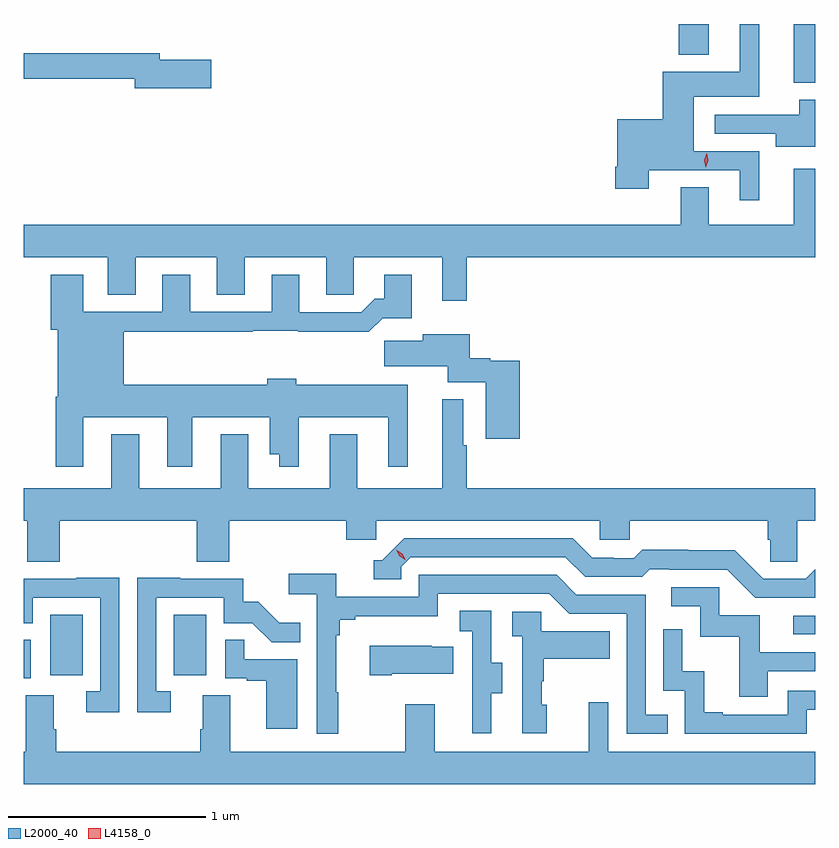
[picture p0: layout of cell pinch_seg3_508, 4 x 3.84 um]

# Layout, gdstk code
import gdstk
lib = gdstk.Library(unit=1e-6, precision=1e-09)
def R(c, l, rs):  # rectangles x0, y0, x1, y1
    for r in rs: c.add(gdstk.rectangle(r[:2], r[2:], *l))
def P(c, l, *ps):  # polygons
    for p in ps: c.add(gdstk.Polygon(p, *l))
L2000_40 = (2000, 40)
L4158_0 = (4158, 0)

pinch_seg3_508 = lib.new_cell('pinch_seg3_508')
R(pinch_seg3_508, L2000_40, [(975.751,676.143,975.786,676.337), (975.884,676.158,976.048,676.465), (976.508,676.158,976.672,676.465), (979.641,676.365,979.751,676.458), (979.643,679.155,979.751,679.451), (979.061,679.295,979.213,679.451)])
P(pinch_seg3_508, L2000_40, [(979.468,678.807),(979.138,678.807),(979.138,679.082),(979.468,679.082),(979.468,679.451),(979.37,679.451),(979.37,679.21),(978.98,679.21),(978.98,678.97),(978.752,678.97),(978.752,678.73),(978.74,678.73),(978.74,678.618),(978.91,678.618),(978.91,678.711),(979.37,678.711),(979.37,678.561),(979.468,678.561)],
  [(976.699,679.269),(976.438,679.269),(976.438,679.303),(975.751,679.303),(975.751,679.174),(976.31,679.174),(976.31,679.127),(976.699,679.127)],
  [(979.751,679.068),(979.67,679.068),(979.67,678.993),(979.245,678.993),(979.245,678.897),(979.553,678.897),(979.553,678.83),(979.751,678.83)],
  [(977.989,678.272),(979.751,678.272),(979.751,678.718),(979.643,678.718),(979.643,678.436),(979.213,678.436),(979.213,678.626),(979.073,678.626),(979.073,678.436),(975.751,678.436),(975.751,678.272),(976.175,678.272),(976.175,678.082),(976.315,678.082),(976.315,678.272),(976.727,678.272),(976.727,678.082),(976.867,678.082),(976.867,678.272),(977.279,678.272),(977.279,678.082),(977.418,678.082),(977.418,678.272),(977.867,678.272),(977.867,678.051),(977.989,678.051)],
  [(976.051,677.462),(976.475,677.462),(976.475,677.211),(976.603,677.211),(976.603,677.462),(976.994,677.462),(976.994,677.276),(977.042,677.276),(977.042,677.211),(977.14,677.211),(977.14,677.462),(977.594,677.462),(977.594,677.211),(977.692,677.211),(977.692,677.626),(977.129,677.626),(977.129,677.656),(976.982,677.656),(976.982,677.626),(976.255,677.626),(976.255,677.896),(976.907,677.896),(976.907,677.899),(977.139,677.899),(977.139,677.894),(977.495,677.894),(977.564,677.963),(977.713,677.963),(977.713,678.184),(977.573,678.184),(977.573,678.061),(977.524,678.061),(977.457,677.994),(977.143,677.994),(977.143,678.184),(977.003,678.184),(977.003,677.997),(976.591,677.997),(976.591,678.184),(976.451,678.184),(976.451,677.997),(976.051,677.997),(976.051,678.184),(975.887,678.184),(975.887,677.904),(975.923,677.904),(975.923,677.566),(975.911,677.566),(975.911,677.211),(976.051,677.211)],
  [(978.257,677.749),(978.108,677.749),(978.108,677.762),(978.004,677.762),(978.004,677.881),(977.768,677.881),(977.768,677.849),(977.574,677.849),(977.574,677.72),(977.894,677.72),(977.894,677.639),(978.086,677.639),(978.086,677.355),(978.257,677.355)],
  [(976.625,676.732),(976.79,676.732),(976.79,676.94),(977.381,676.94),(977.381,676.842),(977.532,676.842),(977.532,676.94),(978.663,676.94),(978.663,676.842),(978.813,676.842),(978.813,676.94),(979.511,676.94),(979.511,676.842),(979.525,676.842),(979.525,676.732),(979.662,676.732),(979.662,676.94),(979.751,676.94),(979.751,677.104),(977.989,677.104),(977.989,677.321),(977.971,677.321),(977.971,677.554),(977.867,677.554),(977.867,677.104),(977.437,677.104),(977.437,677.377),(977.297,677.377),(977.297,677.104),(976.885,677.104),(976.885,677.377),(976.745,677.377),(976.745,677.104),(976.333,677.104),(976.333,677.377),(976.193,677.377),(976.193,677.104),(975.751,677.104),(975.751,676.94),(975.767,676.94),(975.767,676.732),(975.932,676.732),(975.932,676.94),(976.625,676.94)],
  [(979.751,676.694),(979.704,676.647),(979.488,676.647),(979.346,676.789),(979.11,676.789),(979.11,676.792),(978.877,676.792),(978.835,676.749),(978.732,676.749),(978.732,676.752),(978.625,676.752),(978.526,676.851),(977.673,676.851),(977.562,676.74),(977.519,676.74),(977.519,676.644),(977.658,676.644),(977.658,676.707),(977.706,676.755),(978.489,676.755),(978.588,676.656),(978.877,676.656),(978.916,676.695),(979.015,676.695),(979.015,676.692),(979.308,676.692),(979.449,676.551),(979.751,676.551)],
  [(977.341,676.073),(977.329,676.073),(977.329,676.361),(977.348,676.361),(977.348,676.438),(977.425,676.438),(977.425,676.457),(977.844,676.457),(977.844,676.569),(978.408,676.569),(978.507,676.47),(978.798,676.47),(978.798,675.861),(979.007,675.861),(979.007,675.957),(978.894,675.957),(978.894,676.566),(978.544,676.566),(978.445,676.665),(977.748,676.665),(977.748,676.554),(977.33,676.554),(977.33,676.67),(977.091,676.67),(977.091,676.568),(977.232,676.568),(977.232,675.861),(977.341,675.861)],
  [(976.233,676.652),(976.015,676.652),(976.015,676.647),(975.751,676.647),(975.751,676.422),(975.795,676.422),(975.795,676.551),(976.137,676.551),(976.137,676.077),(976.065,676.077),(976.065,675.972),(976.233,675.972)],
  [(976.492,676.077),(976.419,676.077),(976.419,676.551),(976.761,676.551),(976.761,676.422),(976.905,676.422),(977.003,676.324),(977.147,676.324),(977.147,676.423),(977.043,676.423),(976.936,676.53),(976.86,676.53),(976.86,676.647),(976.541,676.647),(976.541,676.652),(976.323,676.652),(976.323,675.972),(976.492,675.972)],
  [(979.513,676.179),(979.751,676.179),(979.751,676.275),(979.471,676.275),(979.471,676.461),(979.266,676.461),(979.266,676.602),(979.023,676.602),(979.023,676.506),(979.17,676.506),(979.17,676.353),(979.369,676.353),(979.369,676.05),(979.513,676.05)],
  [(978.115,676.066),(978.169,676.066),(978.169,676.221),(978.114,676.221),(978.114,676.484),(977.955,676.484),(977.955,676.381),(978.018,676.381),(978.018,676.077),(978.017,676.077),(978.017,675.864),(978.115,675.864)],
  [(978.394,676.008),(978.369,676.008),(978.369,676.127),(978.379,676.127),(978.379,676.241),(978.713,676.241),(978.713,676.381),(978.366,676.381),(978.366,676.479),(978.219,676.479),(978.219,676.355),(978.27,676.355),(978.27,675.864),(978.394,675.864)],
  [(979.71,675.984),(979.751,675.984),(979.751,676.08),(979.614,676.08),(979.614,675.957),(979.285,675.957),(979.285,675.97),(979.19,675.97),(979.19,676.178),(979.08,676.178),(979.08,676.39),(978.984,676.39),(978.984,676.08),(979.092,676.08),(979.092,675.861),(979.71,675.861)],
  [(977.134,676.239),(976.865,676.239),(976.865,676.337),(976.77,676.337),(976.77,676.143),(976.877,676.143),(976.877,676.131),(976.976,676.131),(976.976,675.888),(977.134,675.888)],
  [(977.611,676.166),(977.921,676.166),(977.921,676.303),(977.813,676.303),(977.813,676.306),(977.499,676.306),(977.499,676.159),(977.611,676.159)],
  [(979.751,675.772),(978.705,675.772),(978.705,676.021),(978.608,676.021),(978.608,675.772),(977.827,675.772),(977.827,676.012),(977.68,676.012),(977.68,675.772),(976.795,675.772),(976.795,676.058),(976.655,676.058),(976.655,675.884),(976.643,675.884),(976.643,675.772),(975.914,675.772),(975.914,675.884),(975.901,675.884),(975.901,676.058),(975.761,676.058),(975.761,675.772),(975.751,675.772),(975.751,675.608),(979.751,675.608)])
P(pinch_seg3_508, L4158_0, [(979.198,678.726),(979.198,678.726),(979.191,678.762),(979.203,678.797),(979.204,678.797),(979.204,678.797),(979.211,678.761),(979.198,678.726)],
  [(977.681,676.74),(977.65,676.76),(977.634,676.793),(977.634,676.793),(977.634,676.793),(977.665,676.773),(977.681,676.74),(977.681,676.74)])

lib.write_gds('pinch_seg3_508.gds')
